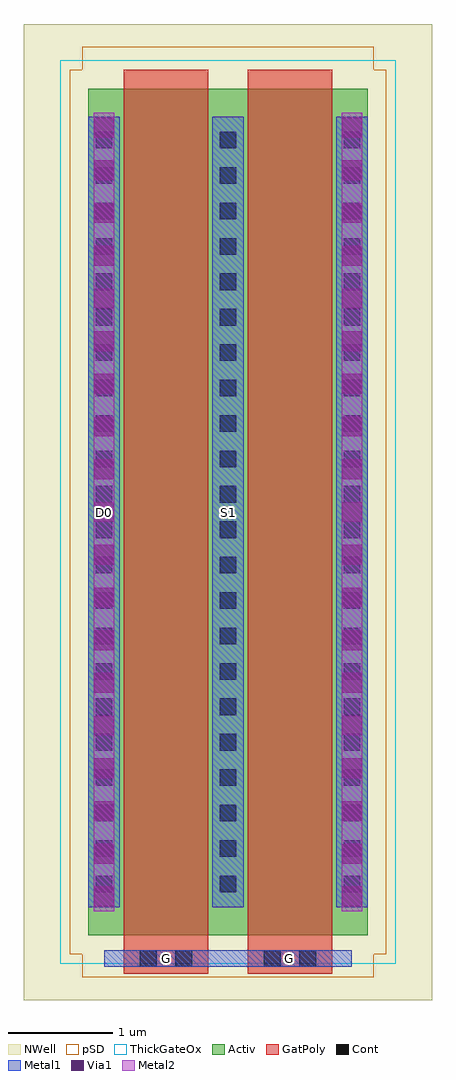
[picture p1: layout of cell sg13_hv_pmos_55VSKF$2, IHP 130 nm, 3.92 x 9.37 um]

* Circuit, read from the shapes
.subckt sg13_hv_pmos_55VSKF$2 D0 G S1
XM1 S1 G D0 n1 sg13_hv_pmos w=8.13u l=0.81u
XM2 n2 G S1 n1 sg13_hv_pmos w=8.13u l=0.81u
.ends

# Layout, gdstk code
import gdstk
lib = gdstk.Library(unit=1e-6, precision=1e-09)
def R(c, l, rs):  # rectangles x0, y0, x1, y1
    for r in rs: c.add(gdstk.rectangle(r[:2], r[2:], *l))
def A(c, l, x, y, w, h, nx, ny, dx, dy):  # array of equal rectangles
    R(c, l, [(x+i*dx, y+j*dy, x+i*dx+w, y+j*dy+h) for i in range(nx) for j in range(ny)])
Activ = (1, 0)
GatPoly = (5, 0)
Cont = (6, 0)
Metal1 = (8, 0)
Metal2 = (10, 0)
pSD = (14, 0)
Via1 = (19, 0)
NWell = (31, 0)
ThickGateOx = (44, 0)

sg13_hv_pmos_55vskf_2 = lib.new_cell('sg13_hv_pmos_55VSKF$2')
R(sg13_hv_pmos_55vskf_2, Activ, [(-1.34,-3.97,1.34,4.16)])
R(sg13_hv_pmos_55vskf_2, GatPoly, [(-1,-4.34,-0.19,4.34), (0.19,-4.34,1,4.34)])
A(sg13_hv_pmos_55vskf_2, Cont, -1.27, -3.555, 0.16, 0.16, 3, 22, 1.19, 0.34)
R(sg13_hv_pmos_55vskf_2, Cont, [(-0.845,-4.27,-0.685,-4.11), (-0.505,-4.27,-0.345,-4.11), (0.345,-4.27,0.505,-4.11), (0.685,-4.27,0.845,-4.11)])
A(sg13_hv_pmos_55vskf_2, Metal1, -1.34, -3.7, 0.3, 7.59, 3, 1, 1.19, 0)
R(sg13_hv_pmos_55vskf_2, Metal1, [(-1.19,-4.27,1.19,-4.11)])
R(sg13_hv_pmos_55vskf_2, Metal2, [(-1.29,-3.74,-1.09,3.93), (1.09,-3.74,1.29,3.93)])
R(sg13_hv_pmos_55vskf_2, pSD, [(-1.4,-4.37,1.4,-4.15), (-1.52,-4.15,1.52,4.34), (-1.4,4.34,1.4,4.56)])
A(sg13_hv_pmos_55vskf_2, Via1, -1.285, -3.69, 0.19, 0.19, 1, 19, 0, 0.41)
A(sg13_hv_pmos_55vskf_2, Via1, 1.095, -3.69, 0.19, 0.19, 1, 19, 0, 0.41)
R(sg13_hv_pmos_55vskf_2, NWell, [(-1.96,-4.59,1.96,4.78)])
R(sg13_hv_pmos_55vskf_2, ThickGateOx, [(-1.61,-4.24,1.61,4.43)])
sg13_hv_pmos_55vskf_2.add(gdstk.Label('D0', (-1.19,0.095), layer=8, texttype=25))
sg13_hv_pmos_55vskf_2.add(gdstk.Label('G', (0.595,-4.19), layer=8, texttype=25))
sg13_hv_pmos_55vskf_2.add(gdstk.Label('G', (-0.595,-4.19), layer=8, texttype=25))
sg13_hv_pmos_55vskf_2.add(gdstk.Label('S1', (0,0.095), layer=8, texttype=25))

lib.write_gds('sg13_hv_pmos_55VSKF_2.gds')
